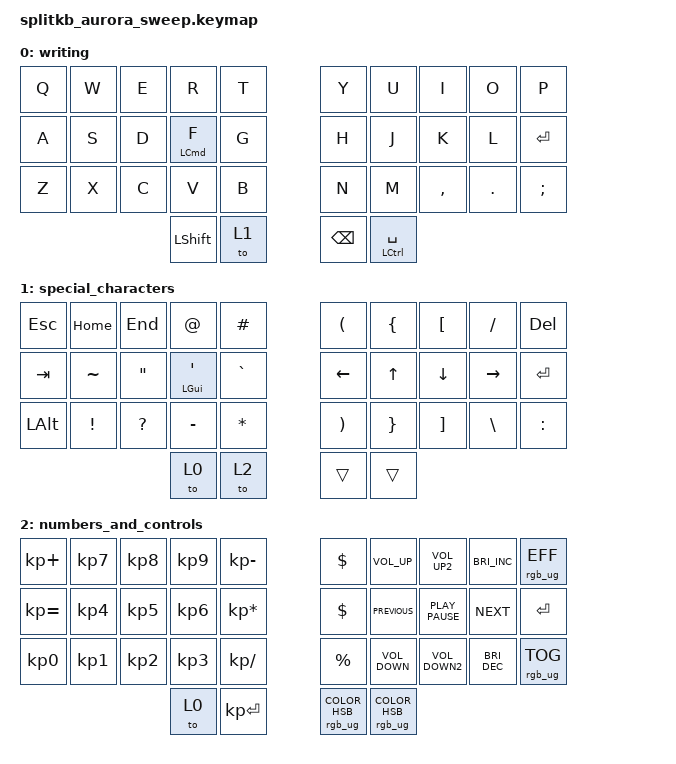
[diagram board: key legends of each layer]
/*
 * Copyright (c) 2022 The ZMK Contributors
 *
 * SPDX-License-Identifier: MIT
 */

#include <behaviors.dtsi>
#include <dt-bindings/zmk/keys.h>
#include <dt-bindings/zmk/rgb.h>

&mt {
    //  flavor = "tap-preferred";
    tapping_term_ms = <300>;
};

/ {
    combos {
        compatible = "zmk,combos";
    };

    keymap {
        compatible = "zmk,keymap";

        writing {
            bindings = <
         &kp Q  &kp W          &kp E               &kp R  &kp T      &kp Y  &kp U      &kp I    &kp O          &kp P
         &kp A  &kp S          &kp D  &mt LEFT_COMMAND F  &kp G      &kp H  &kp J      &kp K    &kp L      &kp ENTER
         &kp Z  &kp X          &kp C               &kp V  &kp B      &kp N  &kp M  &kp COMMA  &kp DOT  &kp SEMICOLON
&kp LEFT_SHIFT  &to 1  &kp BACKSPACE     &mt LCTRL SPACE
            >;
        };

        special_characters {
            bindings = <
  &kp ESCAPE         &kp HOME            &kp END                 &kp AT   &kp HASH       &kp LEFT_PARENTHESIS   &kp LEFT_BRACE   &kp LEFT_BRACKET        &kp SLASH  &kp DELETE
     &kp TAB        &kp TILDE  &kp DOUBLE_QUOTES  &mt LGUI SINGLE_QUOTE  &kp GRAVE             &kp LEFT_ARROW     &kp UP_ARROW     &kp DOWN_ARROW  &kp RIGHT_ARROW   &kp ENTER
&kp LEFT_ALT  &kp EXCLAMATION       &kp QUESTION              &kp MINUS   &kp STAR      &kp RIGHT_PARENTHESIS  &kp RIGHT_BRACE  &kp RIGHT_BRACKET    &kp BACKSLASH   &kp COLON
       &to 0            &to 2             &trans                 &trans
            >;
        };

        numbers_and_controls {
            bindings = <
    &kp KP_PLUS  &kp KP_NUMBER_7                   &kp KP_NUMBER_8                   &kp KP_NUMBER_9     &kp KP_MINUS       &kp DOLLAR    &kp K_VOLUME_UP    &kp K_VOLUME_UP2  &kp C_BRIGHTNESS_INC  &rgb_ug RGB_EFF
   &kp KP_EQUAL  &kp KP_NUMBER_4                   &kp KP_NUMBER_5                   &kp KP_NUMBER_6  &kp KP_MULTIPLY       &kp DOLLAR     &kp K_PREVIOUS    &kp K_PLAY_PAUSE            &kp K_NEXT        &kp ENTER
&kp KP_NUMBER_0  &kp KP_NUMBER_1                   &kp KP_NUMBER_2                   &kp KP_NUMBER_3    &kp KP_DIVIDE      &kp PERCENT  &kp K_VOLUME_DOWN  &kp K_VOLUME_DOWN2  &kp C_BRIGHTNESS_DEC  &rgb_ug RGB_TOG
          &to 0     &kp KP_ENTER  &rgb_ug RGB_COLOR_HSB(197,96,47)  &rgb_ug RGB_COLOR_HSB(243,96,48)
            >;
        };
    };

    sensors {
    };
};

&led_strip {
    chain-length = <23>;
};
